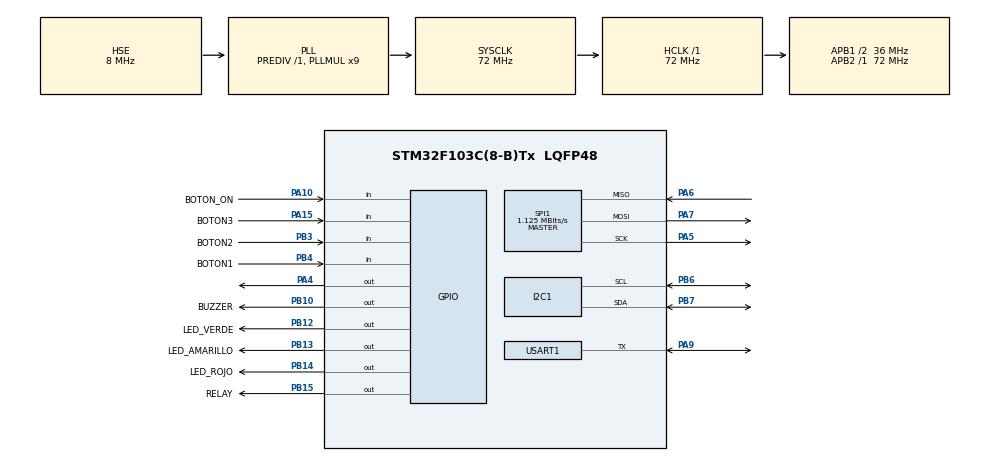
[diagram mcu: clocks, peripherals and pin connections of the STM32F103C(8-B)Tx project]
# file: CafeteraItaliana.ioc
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FREERTOS.Tasks01=defaultTask,0,128,StartDefaultTask,Default,NULL,Dynamic,NULL,NULL
FREERTOS.configUSE_NEWLIB_REENTRANT=1
Mcu.Family=STM32F1
Mcu.Name=STM32F103C(8-B)Tx
Mcu.Package=LQFP48
NVIC.PriorityGroup=NVIC_PRIORITYGROUP_4
NVIC.TIM4_IRQn=true\:15\:0\:false\:false\:true\:false\:false\:true\:true
NVIC.TimeBase=TIM4_IRQn
NVIC.TimeBaseIP=TIM4
NVIC.USART1_IRQn=true\:5\:0\:false\:false\:true\:true\:true\:true\:true
PA10.GPIO_Label=BOTON_ON
PA10.GPIO_PuPd=GPIO_PULLUP
PA10.Signal=GPIO_Input
PA13.Mode=Serial_Wire
PA13.Signal=SYS_JTMS-SWDIO
PA14.Mode=Serial_Wire
PA14.Signal=SYS_JTCK-SWCLK
PA15.GPIO_Label=BOTON3
PA15.GPIO_PuPd=GPIO_PULLUP
PA15.Signal=GPIO_Input
PA4.Signal=GPIO_Output
PA5.Mode=Full_Duplex_Master
PA5.Signal=SPI1_SCK
PA6.Mode=Full_Duplex_Master
PA6.Signal=SPI1_MISO
PA7.Mode=Full_Duplex_Master
PA7.Signal=SPI1_MOSI
PA9.Mode=Half_duplex(single_wire_mode)
PA9.Signal=USART1_TX
PB10.GPIO_Label=BUZZER
PB10.Signal=GPIO_Output
PB12.GPIO_Label=LED_VERDE
PB12.Signal=GPIO_Output
PB13.GPIO_Label=LED_AMARILLO
PB13.Signal=GPIO_Output
PB14.GPIO_Label=LED_ROJO
PB14.Signal=GPIO_Output
PB15.GPIO_Label=RELAY
PB15.Signal=GPIO_Output
PB3.GPIO_Label=BOTON2
PB3.GPIO_PuPd=GPIO_PULLUP
PB3.Signal=GPIO_Input
PB4.GPIO_Label=BOTON1
PB4.GPIO_PuPd=GPIO_PULLUP
PB4.Signal=GPIO_Input
PB6.Mode=I2C
PB6.Signal=I2C1_SCL
PB7.Mode=I2C
PB7.Signal=I2C1_SDA
PC14-OSC32_IN.Mode=LSE-External-Oscillator
PC14-OSC32_IN.Signal=RCC_OSC32_IN
PC15-OSC32_OUT.Mode=LSE-External-Oscillator
PC15-OSC32_OUT.Signal=RCC_OSC32_OUT
PD0-OSC_IN.Mode=HSE-External-Oscillator
PD0-OSC_IN.Signal=RCC_OSC_IN
PD1-OSC_OUT.Mode=HSE-External-Oscillator
PD1-OSC_OUT.Signal=RCC_OSC_OUT
ProjectManager.HeapSize=0x200
ProjectManager.StackSize=0x400
ProjectManager.TargetToolchain=STM32CubeIDE
RCC.AHBFreq_Value=72000000
RCC.APB1CLKDivider=RCC_HCLK_DIV2
RCC.APB1Freq_Value=36000000
RCC.APB1TimFreq_Value=72000000
RCC.APB2Freq_Value=72000000
RCC.APB2TimFreq_Value=72000000
RCC.HCLKFreq_Value=72000000
RCC.PLLMUL=RCC_PLL_MUL9
RCC.PLLSourceVirtual=RCC_PLLSOURCE_HSE
RCC.SYSCLKFreq_VALUE=72000000
RCC.SYSCLKSource=RCC_SYSCLKSOURCE_PLLCLK
RCC.USBFreq_Value=72000000
RTC.Date=21
RTC.Format=RTC_FORMAT_BIN
RTC.Hours=17
RTC.Minutes=26
RTC.Month=RTC_MONTH_DECEMBER
RTC.WeekDay=RTC_WEEKDAY_WEDNESDAY
RTC.Year=22
SPI1.BaudRatePrescaler=SPI_BAUDRATEPRESCALER_64
SPI1.CalculateBaudRate=1.125 MBits/s
SPI1.Direction=SPI_DIRECTION_2LINES
SPI1.Mode=SPI_MODE_MASTER
SPI1.VirtualType=VM_MASTER
USART1.VirtualMode=VM_ASYNC
VP_FATFS_VS_Generic.Mode=User_defined
VP_FREERTOS_VS_CMSIS_V1.Mode=CMSIS_V1
VP_RTC_No_RTC_Output.Mode=RTC_OUT_NO
VP_RTC_VS_RTC_Activate.Mode=RTC_Enabled
VP_RTC_VS_RTC_Calendar.Mode=RTC_Calendar
VP_SYS_VS_tim4.Mode=TIM4
VP_TIM1_VS_ClockSourceINT.Mode=Internal
VP_TIM3_VS_ClockSourceINT.Mode=Internal
board=custom

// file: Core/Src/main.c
/* USER CODE BEGIN Header */
/**
  ******************************************************************************
  * @file           : main.c
  * @brief          : Main program body
  ******************************************************************************
  * @attention
  *
  * Copyright (c) 2022 STMicroelectronics.
  * All rights reserved.
  *
  * This software is licensed under terms that can be found in the LICENSE file
  * in the root directory of this software component.
  * If no LICENSE file comes with this software, it is provided AS-IS.
  *
  ******************************************************************************
  */
/* USER CODE END Header */
#include "main.h"
#include "cmsis_os.h"
#include "fatfs.h"

/* USER CODE BEGIN Includes */
#include "liquidcrystal_i2c.h"
#include "OneWire.h"
#include "stdio.h"
#include "MdE.h"
#include "funciones.h"
#include "File_Handling_RTOS.h"
//#include "handlers.h"
/* USER CODE END Includes */

/* USER CODE BEGIN PM */
void my_ftoa(float n, char* res, int afterpoint);
int intToStr(int x, char str[], int d);
void reverse(char* str, int len);
/* USER CODE END PM */

I2C_HandleTypeDef hi2c1;

RTC_HandleTypeDef hrtc;

SPI_HandleTypeDef hspi1;

TIM_HandleTypeDef htim1;
TIM_HandleTypeDef htim3;

UART_HandleTypeDef huart1;

osThreadId defaultTaskHandle;

void SystemClock_Config(void);
static void MX_GPIO_Init(void);
static void MX_I2C1_Init(void);
static void MX_USART1_UART_Init(void);
static void MX_RTC_Init(void);
static void MX_SPI1_Init(void);
static void MX_TIM1_Init(void);
static void MX_TIM3_Init(void);
void StartDefaultTask(void const * argument);

/* USER CODE BEGIN 0 */
extern float Temp[MAXDEVICES_ON_THE_BUS];
TaskHandle_t Handler_Lectura;
TaskHandle_t Handler_Sensores;
TaskHandle_t Handler_Anafe;
TaskHandle_t Handler_Timer;
TaskHandle_t Handler_Timer2;

uint8_t toggle_reset = 1;

extern uint8_t estado_comp;
extern char componentes[4];
/* USER CODE END 0 */

int main(void)
{

  /* MCU Configuration--------------------------------------------------------*/

  /* Reset of all peripherals, Initializes the Flash interface and the Systick. */
  HAL_Init();

  /* Configure the system clock */
  SystemClock_Config();

  /* Initialize all configured peripherals */
  MX_GPIO_Init();
  MX_I2C1_Init();
  MX_USART1_UART_Init();
  MX_RTC_Init();
  MX_SPI1_Init();
  MX_FATFS_Init();
  MX_TIM1_Init();
  MX_TIM3_Init();
  /* USER CODE BEGIN 2 */

  InitAll();

  /* USER CODE END 2 */

  /* Create the thread(s) */
  /* definition and creation of defaultTask */
  osThreadDef(defaultTask, StartDefaultTask, osPriorityNormal, 0, 128);
  defaultTaskHandle = osThreadCreate(osThread(defaultTask), NULL);

  /* USER CODE BEGIN RTOS_THREADS */
  /* add threads, ... */

  xTaskCreate(MdE_Principal, "MdE", configMINIMAL_STACK_SIZE*2, NULL, 1, NULL);
  xTaskCreate(DriverTeclado, "Driver Teclado", configMINIMAL_STACK_SIZE, NULL, 1, NULL);
  xTaskCreate(Tarea_BOTON_ON, "Boton ON", configMINIMAL_STACK_SIZE, NULL, 1, NULL);
  xTaskCreate(Tarea_Lectura, "Lectura Temperatura", configMINIMAL_STACK_SIZE, NULL, 1, Handler_Lectura);
  xTaskCreate(Tarea_Timer, "Tarea Timer",configMINIMAL_STACK_SIZE,NULL, 1, Handler_Timer);
  xTaskCreate(Tarea_Timer2, "Tarea Timer 2",configMINIMAL_STACK_SIZE,NULL, 1, Handler_Timer2);
  xTaskCreate(Error_Sensores, "Error Sensores", configMINIMAL_STACK_SIZE, NULL, 1, Handler_Sensores);
  xTaskCreate(Error_Anafe, "Error Anafe", configMINIMAL_STACK_SIZE, NULL, 1, Handler_Anafe);

  HAL_TIM_Base_Start_IT(&htim1);
  /* USER CODE END RTOS_THREADS */

  /* Start scheduler */
  osKernelStart();

  /* We should never get here as control is now taken by the scheduler */
  /* Infinite loop */
  while (1)
  {

  }
}

void SystemClock_Config(void)
{
  RCC_OscInitTypeDef RCC_OscInitStruct = {0};
  RCC_ClkInitTypeDef RCC_ClkInitStruct = {0};
  RCC_PeriphCLKInitTypeDef PeriphClkInit = {0};

  /** Initializes the RCC Oscillators according to the specified parameters
  * in the RCC_OscInitTypeDef structure.
  */
  RCC_OscInitStruct.OscillatorType = RCC_OSCILLATORTYPE_LSI|RCC_OSCILLATORTYPE_HSE;
  RCC_OscInitStruct.HSEState = RCC_HSE_ON;
  RCC_OscInitStruct.HSEPredivValue = RCC_HSE_PREDIV_DIV1;
  RCC_OscInitStruct.HSIState = RCC_HSI_ON;
  RCC_OscInitStruct.LSIState = RCC_LSI_ON;
  RCC_OscInitStruct.PLL.PLLState = RCC_PLL_ON;
  RCC_OscInitStruct.PLL.PLLSource = RCC_PLLSOURCE_HSE;
  RCC_OscInitStruct.PLL.PLLMUL = RCC_PLL_MUL9;
  if (HAL_RCC_OscConfig(&RCC_OscInitStruct) != HAL_OK)
  {
    Error_Handler();
  }

  /** Initializes the CPU, AHB and APB buses clocks
  */
  RCC_ClkInitStruct.ClockType = RCC_CLOCKTYPE_HCLK|RCC_CLOCKTYPE_SYSCLK
                              |RCC_CLOCKTYPE_PCLK1|RCC_CLOCKTYPE_PCLK2;
  RCC_ClkInitStruct.SYSCLKSource = RCC_SYSCLKSOURCE_PLLCLK;
  RCC_ClkInitStruct.AHBCLKDivider = RCC_SYSCLK_DIV1;
  RCC_ClkInitStruct.APB1CLKDivider = RCC_HCLK_DIV2;
  RCC_ClkInitStruct.APB2CLKDivider = RCC_HCLK_DIV1;

  if (HAL_RCC_ClockConfig(&RCC_ClkInitStruct, FLASH_LATENCY_2) != HAL_OK)
  {
    Error_Handler();
  }
  PeriphClkInit.PeriphClockSelection = RCC_PERIPHCLK_RTC;
  PeriphClkInit.RTCClockSelection = RCC_RTCCLKSOURCE_LSI;
  if (HAL_RCCEx_PeriphCLKConfig(&PeriphClkInit) != HAL_OK)
  {
    Error_Handler();
  }
}

static void MX_I2C1_Init(void)
{

  hi2c1.Instance = I2C1;
  hi2c1.Init.ClockSpeed = 100000;
  hi2c1.Init.DutyCycle = I2C_DUTYCYCLE_2;
  hi2c1.Init.OwnAddress1 = 0;
  hi2c1.Init.AddressingMode = I2C_ADDRESSINGMODE_7BIT;
  hi2c1.Init.DualAddressMode = I2C_DUALADDRESS_DISABLE;
  hi2c1.Init.OwnAddress2 = 0;
  hi2c1.Init.GeneralCallMode = I2C_GENERALCALL_DISABLE;
  hi2c1.Init.NoStretchMode = I2C_NOSTRETCH_DISABLE;
  if (HAL_I2C_Init(&hi2c1) != HAL_OK)
  {
    Error_Handler();
  }

}

static void MX_RTC_Init(void)
{

//  RTC_TimeTypeDef sTime = {0};
//  RTC_DateTypeDef DateToUpdate = {0};

  /** Initialize RTC Only
  */
  hrtc.Instance = RTC;
  hrtc.Init.AsynchPrediv = RTC_AUTO_1_SECOND;
  hrtc.Init.OutPut = RTC_OUTPUTSOURCE_NONE;
  if (HAL_RTC_Init(&hrtc) != HAL_OK)
  {
    Error_Handler();
  }

  /** Initialize RTC and set the Time and Date
  */
//  sTime.Hours = 17;
//  sTime.Minutes = 26;
//  sTime.Seconds = 0;
//
//  if (HAL_RTC_SetTime(&hrtc, &sTime, RTC_FORMAT_BIN) != HAL_OK)
//  {
//    Error_Handler();
//  }
//  DateToUpdate.WeekDay = RTC_WEEKDAY_WEDNESDAY;
//  DateToUpdate.Month = RTC_MONTH_DECEMBER;
//  DateToUpdate.Date = 21;
//  DateToUpdate.Year = 22;
//
//  if (HAL_RTC_SetDate(&hrtc, &DateToUpdate, RTC_FORMAT_BIN) != HAL_OK)
//  {
//    Error_Handler();
//  }

}

static void MX_SPI1_Init(void)
{

  /* SPI1 parameter configuration*/
  hspi1.Instance = SPI1;
  hspi1.Init.Mode = SPI_MODE_MASTER;
  hspi1.Init.Direction = SPI_DIRECTION_2LINES;
  hspi1.Init.DataSize = SPI_DATASIZE_8BIT;
  hspi1.Init.CLKPolarity = SPI_POLARITY_LOW;
  hspi1.Init.CLKPhase = SPI_PHASE_1EDGE;
  hspi1.Init.NSS = SPI_NSS_SOFT;
  hspi1.Init.BaudRatePrescaler = SPI_BAUDRATEPRESCALER_64;
  hspi1.Init.FirstBit = SPI_FIRSTBIT_MSB;
  hspi1.Init.TIMode = SPI_TIMODE_DISABLE;
  hspi1.Init.CRCCalculation = SPI_CRCCALCULATION_DISABLE;
  hspi1.Init.CRCPolynomial = 10;
  if (HAL_SPI_Init(&hspi1) != HAL_OK)
  {
    Error_Handler();
  }

}

static void MX_TIM1_Init(void)
{

  TIM_ClockConfigTypeDef sClockSourceConfig = {0};
  TIM_MasterConfigTypeDef sMasterConfig = {0};

  htim1.Instance = TIM1;
  htim1.Init.Prescaler = 0;
  htim1.Init.CounterMode = TIM_COUNTERMODE_UP;
  htim1.Init.Period = 65535;
  htim1.Init.ClockDivision = TIM_CLOCKDIVISION_DIV1;
  htim1.Init.RepetitionCounter = 0;
  htim1.Init.AutoReloadPreload = TIM_AUTORELOAD_PRELOAD_DISABLE;
  if (HAL_TIM_Base_Init(&htim1) != HAL_OK)
  {
    Error_Handler();
  }
  sClockSourceConfig.ClockSource = TIM_CLOCKSOURCE_INTERNAL;
  if (HAL_TIM_ConfigClockSource(&htim1, &sClockSourceConfig) != HAL_OK)
  {
    Error_Handler();
  }
  sMasterConfig.MasterOutputTrigger = TIM_TRGO_RESET;
  sMasterConfig.MasterSlaveMode = TIM_MASTERSLAVEMODE_DISABLE;
  if (HAL_TIMEx_MasterConfigSynchronization(&htim1, &sMasterConfig) != HAL_OK)
  {
    Error_Handler();
  }

}

static void MX_TIM3_Init(void)
{

  TIM_ClockConfigTypeDef sClockSourceConfig = {0};
  TIM_MasterConfigTypeDef sMasterConfig = {0};

  htim3.Instance = TIM3;
  htim3.Init.Prescaler = 0;
  htim3.Init.CounterMode = TIM_COUNTERMODE_UP;
  htim3.Init.Period = 65535;
  htim3.Init.ClockDivision = TIM_CLOCKDIVISION_DIV1;
  htim3.Init.AutoReloadPreload = TIM_AUTORELOAD_PRELOAD_DISABLE;
  if (HAL_TIM_Base_Init(&htim3) != HAL_OK)
  {
    Error_Handler();
  }
  sClockSourceConfig.ClockSource = TIM_CLOCKSOURCE_INTERNAL;
  if (HAL_TIM_ConfigClockSource(&htim3, &sClockSourceConfig) != HAL_OK)
  {
    Error_Handler();
  }
  sMasterConfig.MasterOutputTrigger = TIM_TRGO_RESET;
  sMasterConfig.MasterSlaveMode = TIM_MASTERSLAVEMODE_DISABLE;
  if (HAL_TIMEx_MasterConfigSynchronization(&htim3, &sMasterConfig) != HAL_OK)
  {
    Error_Handler();
  }

}

static void MX_USART1_UART_Init(void)
{

  huart1.Instance = USART1;
  huart1.Init.BaudRate = 115200;
  huart1.Init.WordLength = UART_WORDLENGTH_8B;
  huart1.Init.StopBits = UART_STOPBITS_1;
  huart1.Init.Parity = UART_PARITY_NONE;
  huart1.Init.Mode = UART_MODE_TX_RX;
  huart1.Init.HwFlowCtl = UART_HWCONTROL_NONE;
  huart1.Init.OverSampling = UART_OVERSAMPLING_16;
  if (HAL_HalfDuplex_Init(&huart1) != HAL_OK)
  {
    Error_Handler();
  }

}

static void MX_GPIO_Init(void)
{
  GPIO_InitTypeDef GPIO_InitStruct = {0};

  /* GPIO Ports Clock Enable */
  __HAL_RCC_GPIOC_CLK_ENABLE();
  __HAL_RCC_GPIOD_CLK_ENABLE();
  __HAL_RCC_GPIOA_CLK_ENABLE();
  __HAL_RCC_GPIOB_CLK_ENABLE();

  /*Configure GPIO pin Output Level */
  HAL_GPIO_WritePin(GPIOA, GPIO_PIN_4, GPIO_PIN_RESET);

  /*Configure GPIO pin Output Level */
  HAL_GPIO_WritePin(GPIOB, BUZZER_Pin|LED_VERDE_Pin|LED_AMARILLO_Pin|LED_ROJO_Pin
                          |RELAY_Pin, GPIO_PIN_RESET);

  /*Configure GPIO pin : PA4 */
  GPIO_InitStruct.Pin = GPIO_PIN_4;
  GPIO_InitStruct.Mode = GPIO_MODE_OUTPUT_PP;
  GPIO_InitStruct.Pull = GPIO_NOPULL;
  GPIO_InitStruct.Speed = GPIO_SPEED_FREQ_LOW;
  HAL_GPIO_Init(GPIOA, &GPIO_InitStruct);

  /*Configure GPIO pins : BUZZER_Pin LED_VERDE_Pin LED_AMARILLO_Pin LED_ROJO_Pin
                           RELAY_Pin */
  GPIO_InitStruct.Pin = BUZZER_Pin|LED_VERDE_Pin|LED_AMARILLO_Pin|LED_ROJO_Pin
                          |RELAY_Pin;
  GPIO_InitStruct.Mode = GPIO_MODE_OUTPUT_PP;
  GPIO_InitStruct.Pull = GPIO_NOPULL;
  GPIO_InitStruct.Speed = GPIO_SPEED_FREQ_LOW;
  HAL_GPIO_Init(GPIOB, &GPIO_InitStruct);

  /*Configure GPIO pins : BOTON_ON_Pin BOTON3_Pin */
  GPIO_InitStruct.Pin = BOTON_ON_Pin|BOTON3_Pin;
  GPIO_InitStruct.Mode = GPIO_MODE_INPUT;
  GPIO_InitStruct.Pull = GPIO_PULLUP;
  HAL_GPIO_Init(GPIOA, &GPIO_InitStruct);

  /*Configure GPIO pins : BOTON2_Pin BOTON1_Pin */
  GPIO_InitStruct.Pin = BOTON2_Pin|BOTON1_Pin;
  GPIO_InitStruct.Mode = GPIO_MODE_INPUT;
  GPIO_InitStruct.Pull = GPIO_PULLUP;
  HAL_GPIO_Init(GPIOB, &GPIO_InitStruct);

}

void StartDefaultTask(void const * argument)
{
  for(;;)
  {
    osDelay(1);
  }
}

void HAL_TIM_PeriodElapsedCallback(TIM_HandleTypeDef *htim)
{
  if (htim->Instance == TIM4) {
    HAL_IncTick();
  }
}

void Error_Handler(void)
{
  __disable_irq();
  while (1)
  {
  }
}
